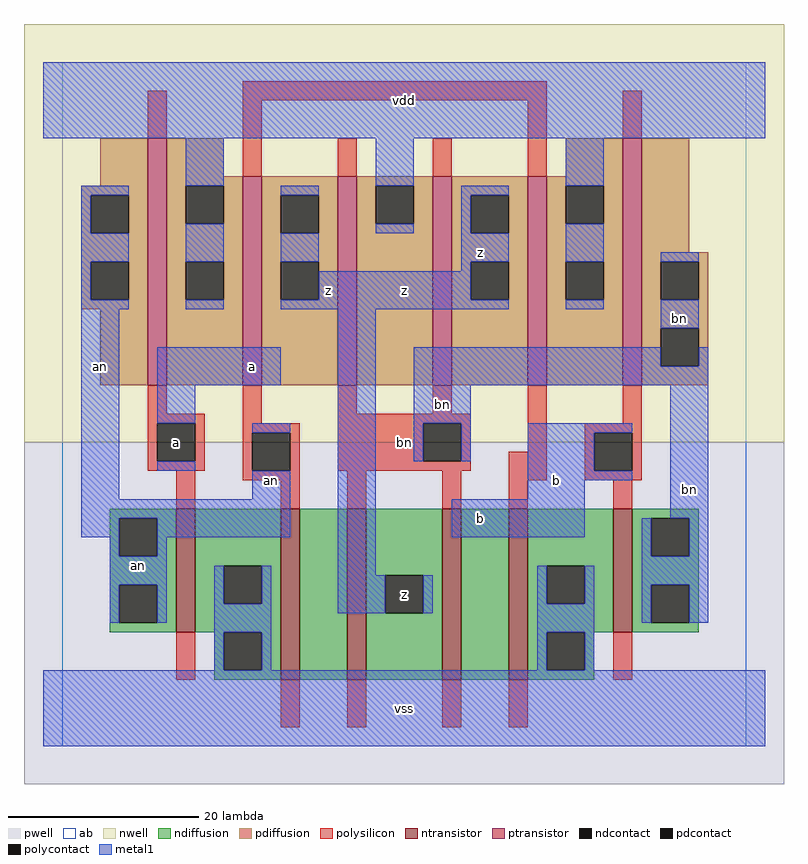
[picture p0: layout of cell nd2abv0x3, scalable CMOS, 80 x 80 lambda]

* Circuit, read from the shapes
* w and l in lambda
.subckt nd2abv0x3 a an b bn vdd vss z
M1 vss a an VSUBS nfet w=13 l=2
M2 n1 an vss VSUBS nfet w=18 l=2
M3 z bn n1 VSUBS nfet w=18 l=2
M4 n2 bn z VSUBS nfet w=18 l=2
M5 vss an n2 VSUBS nfet w=18 l=2
M6 bn b vss VSUBS nfet w=13 l=2
M7 vdd a an n3 pfet w=26 l=2
M8 z an vdd n3 pfet w=22 l=2 m=2
M9 vdd bn z n3 pfet w=22 l=2 m=2
M10 bn b vdd n3 pfet w=26 l=2
.ends

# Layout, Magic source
magic
tech scmos
<< ab >>
rect 0 0 72 72
<< pwell >>
rect -4 -4 76 32
<< nwell >>
rect -4 32 76 76
<< polysilicon >>
rect 9 64 11 69
rect 19 68 51 70
rect 19 60 21 68
rect 29 60 31 64
rect 39 60 41 64
rect 49 60 51 68
rect 59 64 61 69
rect 9 35 11 38
rect 9 34 15 35
rect 9 30 10 34
rect 14 30 15 34
rect 9 29 15 30
rect 19 34 21 38
rect 29 35 31 38
rect 39 35 41 38
rect 29 34 43 35
rect 19 33 25 34
rect 19 29 20 33
rect 24 29 25 33
rect 29 30 38 34
rect 42 30 43 34
rect 49 31 51 38
rect 59 34 61 38
rect 29 29 43 30
rect 12 25 14 29
rect 19 28 25 29
rect 23 25 25 28
rect 30 25 32 29
rect 40 25 42 29
rect 47 28 51 31
rect 55 33 61 34
rect 55 29 56 33
rect 60 29 61 33
rect 55 28 61 29
rect 47 25 49 28
rect 58 25 60 28
rect 12 7 14 12
rect 58 7 60 12
rect 23 2 25 7
rect 30 2 32 7
rect 40 2 42 7
rect 47 2 49 7
<< ndiffusion >>
rect 5 24 12 25
rect 5 20 6 24
rect 10 20 12 24
rect 5 17 12 20
rect 5 13 6 17
rect 10 13 12 17
rect 5 12 12 13
rect 14 19 23 25
rect 14 15 17 19
rect 21 15 23 19
rect 14 12 23 15
rect 16 8 17 12
rect 21 8 23 12
rect 16 7 23 8
rect 25 7 30 25
rect 32 18 40 25
rect 32 14 34 18
rect 38 14 40 18
rect 32 7 40 14
rect 42 7 47 25
rect 49 19 58 25
rect 49 15 51 19
rect 55 15 58 19
rect 49 12 58 15
rect 60 24 67 25
rect 60 20 62 24
rect 66 20 67 24
rect 60 17 67 20
rect 60 13 62 17
rect 66 13 67 17
rect 60 12 67 13
rect 49 8 51 12
rect 55 8 56 12
rect 49 7 56 8
<< pdiffusion >>
rect 4 59 9 64
rect 2 58 9 59
rect 2 54 3 58
rect 7 54 9 58
rect 2 51 9 54
rect 2 47 3 51
rect 7 47 9 51
rect 2 46 9 47
rect 4 38 9 46
rect 11 60 17 64
rect 53 60 59 64
rect 11 59 19 60
rect 11 55 13 59
rect 17 55 19 59
rect 11 51 19 55
rect 11 47 13 51
rect 17 47 19 51
rect 11 38 19 47
rect 21 58 29 60
rect 21 54 23 58
rect 27 54 29 58
rect 21 51 29 54
rect 21 47 23 51
rect 27 47 29 51
rect 21 38 29 47
rect 31 59 39 60
rect 31 55 33 59
rect 37 55 39 59
rect 31 38 39 55
rect 41 58 49 60
rect 41 54 43 58
rect 47 54 49 58
rect 41 51 49 54
rect 41 47 43 51
rect 47 47 49 51
rect 41 38 49 47
rect 51 59 59 60
rect 51 55 53 59
rect 57 55 59 59
rect 51 51 59 55
rect 51 47 53 51
rect 57 47 59 51
rect 51 38 59 47
rect 61 52 66 64
rect 61 51 68 52
rect 61 47 63 51
rect 67 47 68 51
rect 61 44 68 47
rect 61 40 63 44
rect 67 40 68 44
rect 61 38 68 40
<< metal1 >>
rect -2 64 74 72
rect 13 59 17 64
rect 33 59 37 64
rect 53 59 57 64
rect 2 58 7 59
rect 2 54 3 58
rect 2 51 7 54
rect 2 47 3 51
rect 2 46 7 47
rect 13 51 17 55
rect 13 46 17 47
rect 23 58 27 59
rect 33 54 37 55
rect 42 58 47 59
rect 42 54 43 58
rect 23 51 27 54
rect 42 51 47 54
rect 42 50 43 51
rect 27 47 43 50
rect 23 46 47 47
rect 53 51 57 55
rect 53 46 57 47
rect 63 51 67 52
rect 2 26 6 46
rect 10 38 23 42
rect 10 34 14 38
rect 10 29 14 30
rect 20 33 24 34
rect 20 26 24 29
rect 2 24 24 26
rect 2 22 6 24
rect 5 20 6 22
rect 10 22 24 24
rect 10 20 11 22
rect 5 17 11 20
rect 5 13 6 17
rect 10 13 11 17
rect 16 15 17 19
rect 21 15 22 19
rect 16 12 22 15
rect 29 18 33 46
rect 63 44 67 47
rect 37 40 63 42
rect 67 40 68 42
rect 37 38 68 40
rect 37 34 43 38
rect 37 30 38 34
rect 42 30 43 34
rect 49 33 60 34
rect 49 29 56 33
rect 49 28 60 29
rect 49 26 55 28
rect 41 22 55 26
rect 64 24 68 38
rect 61 20 62 24
rect 66 20 68 24
rect 29 14 34 18
rect 38 14 39 18
rect 50 15 51 19
rect 55 15 56 19
rect 16 8 17 12
rect 21 8 22 12
rect 50 12 56 15
rect 61 17 68 20
rect 61 13 62 17
rect 66 13 68 17
rect 50 8 51 12
rect 55 8 56 12
rect -2 0 74 8
<< ntransistor >>
rect 12 12 14 25
rect 23 7 25 25
rect 30 7 32 25
rect 40 7 42 25
rect 47 7 49 25
rect 58 12 60 25
<< ptransistor >>
rect 9 38 11 64
rect 19 38 21 60
rect 29 38 31 60
rect 39 38 41 60
rect 49 38 51 60
rect 59 38 61 64
<< polycontact >>
rect 10 30 14 34
rect 20 29 24 33
rect 38 30 42 34
rect 56 29 60 33
<< ndcontact >>
rect 6 20 10 24
rect 6 13 10 17
rect 17 15 21 19
rect 17 8 21 12
rect 34 14 38 18
rect 51 15 55 19
rect 62 20 66 24
rect 62 13 66 17
rect 51 8 55 12
<< pdcontact >>
rect 3 54 7 58
rect 3 47 7 51
rect 13 55 17 59
rect 13 47 17 51
rect 23 54 27 58
rect 23 47 27 51
rect 33 55 37 59
rect 43 54 47 58
rect 43 47 47 51
rect 53 55 57 59
rect 53 47 57 51
rect 63 47 67 51
rect 63 40 67 44
<< labels >>
rlabel polysilicon 36 32 36 32 6 bn
rlabel metal1 8 19 8 19 6 an
rlabel polycontact 12 32 12 32 6 a
rlabel metal1 4 40 4 40 6 an
rlabel metal1 22 28 22 28 6 an
rlabel metal1 20 40 20 40 6 a
rlabel metal1 28 48 28 48 6 z
rlabel metal1 36 4 36 4 6 vss
rlabel ndcontact 36 16 36 16 6 z
rlabel metal1 44 24 44 24 6 b
rlabel metal1 52 28 52 28 6 b
rlabel metal1 40 36 40 36 6 bn
rlabel metal1 36 48 36 48 6 z
rlabel metal1 44 52 44 52 6 z
rlabel metal1 36 68 36 68 6 vdd
rlabel metal1 65 45 65 45 6 bn
rlabel metal1 66 27 66 27 6 bn
<< end >>
